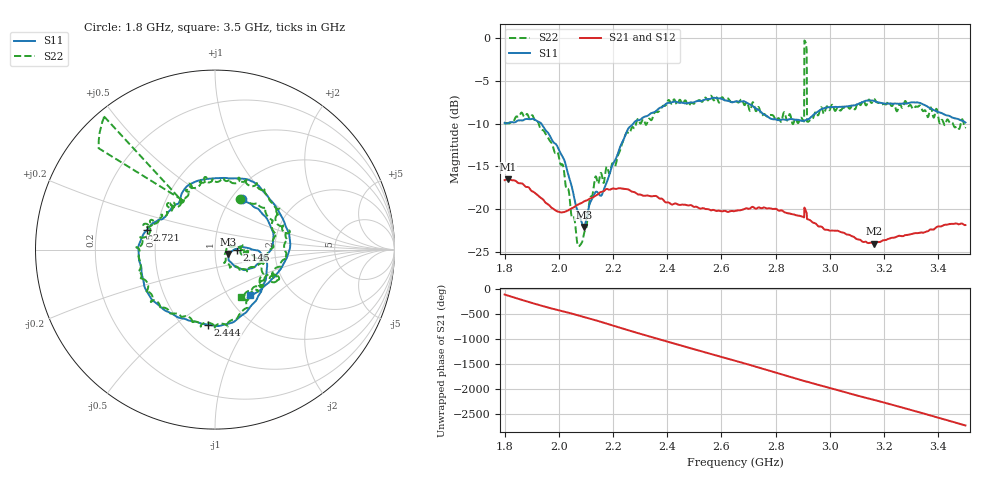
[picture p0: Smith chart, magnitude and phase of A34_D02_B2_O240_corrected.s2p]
! Created with skrf 1.9.0 (http://scikit-rf.org).
# Hz S RI R 50.0
!freq ReS11 ImS11 ReS21 ImS21 ReS12 ImS12 ReS22 ImS22
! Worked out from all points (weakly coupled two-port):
!   1601 points, 1.8 GHz to 3.5 GHz, reference 50 ohm
!   highest |S21| = -16.54 dB at 1.812 GHz (marker M1); lowest = -24.1 dB at 3.162 GHz (marker M2)
!   lowest |S11| = -22.1 dB at 2.092 GHz (marker M3), VSWR 1.17, Z = 57.9 - j2.88 ohm
!   |S11| at or under -10 dB: 1.935 GHz to 2.274 GHz (339.2 MHz wide, 16.1 % of centre)
!   |S22| runs from -24.4 to -0.2 dB; largest |S21 - S12| = 0.0025
!   S11 on the Smith chart (normalised r, x): 1.8 GHz: 1.13, +0.70; 2.145 GHz: 1.28, -0.00; 2.444 GHz: 0.66, -0.67; 2.721 GHz: 0.44, +0.11; 3.5 GHz: 1.26, -0.72
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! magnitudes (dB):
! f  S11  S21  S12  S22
! 1.8 GHz  -9.9  -16.6  -16.6  -10.0
! 1.812 GHz  -9.9  -16.5  -16.5  -9.9
! 1.902 GHz  -9.4  -17.9  -17.9  -9.0
! 1.966 GHz  -11.4  -19.6  -19.7  -12.0
! 2.02 GHz  -14.3  -20.4  -20.4  -15.8
! 2.07 GHz  -20.3  -19.5  -19.5  -24.3
! 2.084 GHz  -21.6  -19.3  -19.3  -24.0
! 2.092 GHz  -22.1  -19.1  -19.2  -23.0
! 2.145 GHz  -18.2  -18.2  -18.2  -17.1
! 2.258 GHz  -10.5  -17.7  -17.7  -11.1
! 2.367 GHz  -8.3  -18.7  -18.6  -8.6
! 2.444 GHz  -7.5  -19.5  -19.5  -7.3
! 2.65 GHz  -7.4  -20.2  -20.2  -7.4
! 2.721 GHz  -8.1  -19.9  -19.8  -8.0
! 2.897 GHz  -9.7  -20.9  -20.9  -9.4
! 2.906 GHz  -9.6  -19.9  -19.8  -0.2
! 2.915 GHz  -9.6  -20.5  -20.5  -1.3
! 2.924 GHz  -9.4  -21.3  -21.3  -9.7
! 2.934 GHz  -9.1  -21.5  -21.5  -9.6
! 3.162 GHz  -7.3  -24.1  -24.0  -7.2
! 3.217 GHz  -7.6  -23.5  -23.5  -7.4
! 3.5 GHz  -9.9  -21.9  -21.9  -10.4
